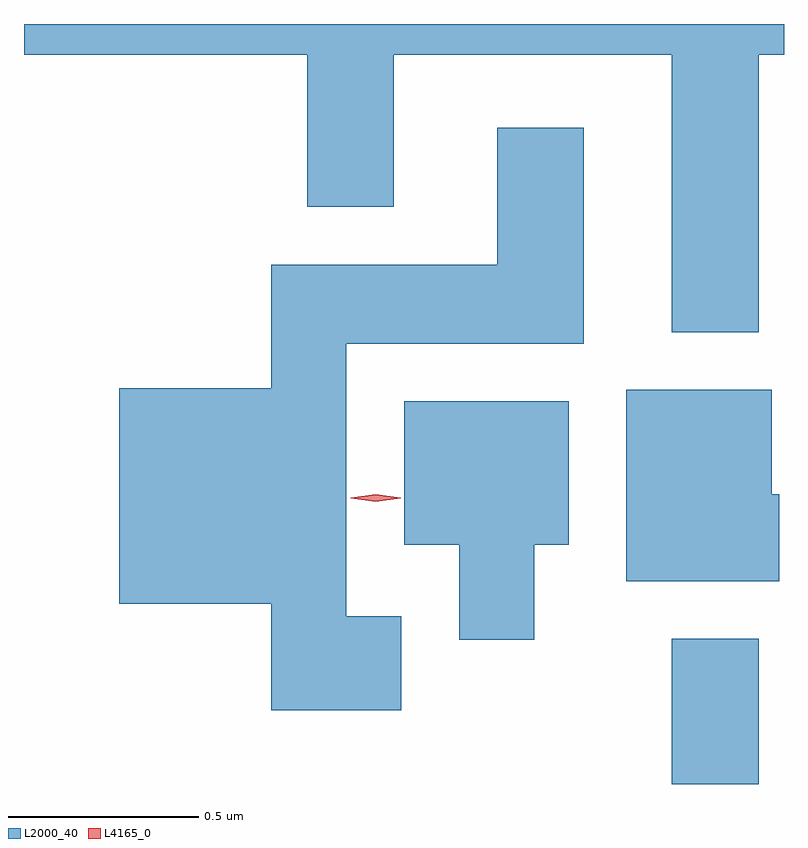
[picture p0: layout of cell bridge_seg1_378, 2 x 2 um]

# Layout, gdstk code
import gdstk
lib = gdstk.Library(unit=1e-6, precision=1e-09)
def R(c, l, rs):  # rectangles x0, y0, x1, y1
    for r in rs: c.add(gdstk.rectangle(r[:2], r[2:], *l))
def P(c, l, *ps):  # polygons
    for p in ps: c.add(gdstk.Polygon(p, *l))
L2000_40 = (2000, 40)
L4165_0 = (4165, 0)

bridge_seg1_378 = lib.new_cell('bridge_seg1_378')
R(bridge_seg1_378, L2000_40, [(883.831,859.917,884.059,860.299)])
P(bridge_seg1_378, L2000_40, [(882.126,861.836),(882.871,861.836),(882.871,861.436),(883.099,861.436),(883.099,861.836),(883.831,861.836),(883.831,861.106),(884.059,861.106),(884.059,861.836),(884.126,861.836),(884.126,861.917),(882.126,861.917)],
  [(883.119,860.359),(882.974,860.359),(882.974,861.076),(883.599,861.076),(883.599,861.644),(883.371,861.644),(883.371,861.284),(882.776,861.284),(882.776,860.959),(882.376,860.959),(882.376,860.391),(882.776,860.391),(882.776,860.111),(883.119,860.111)],
  [(884.114,860.679),(884.094,860.679),(884.094,860.954),(883.711,860.954),(883.711,860.451),(884.114,860.451)],
  [(883.469,860.546),(883.559,860.546),(883.559,860.924),(883.126,860.924),(883.126,860.546),(883.271,860.546),(883.271,860.296),(883.469,860.296)])
P(bridge_seg1_378, L4165_0, [(883.052,860.66),(882.986,860.669),(882.986,860.67),(882.986,860.67),(883.052,860.68),(883.118,860.67),(883.118,860.67),(883.118,860.669)])

lib.write_gds('bridge_seg1_378.gds')
